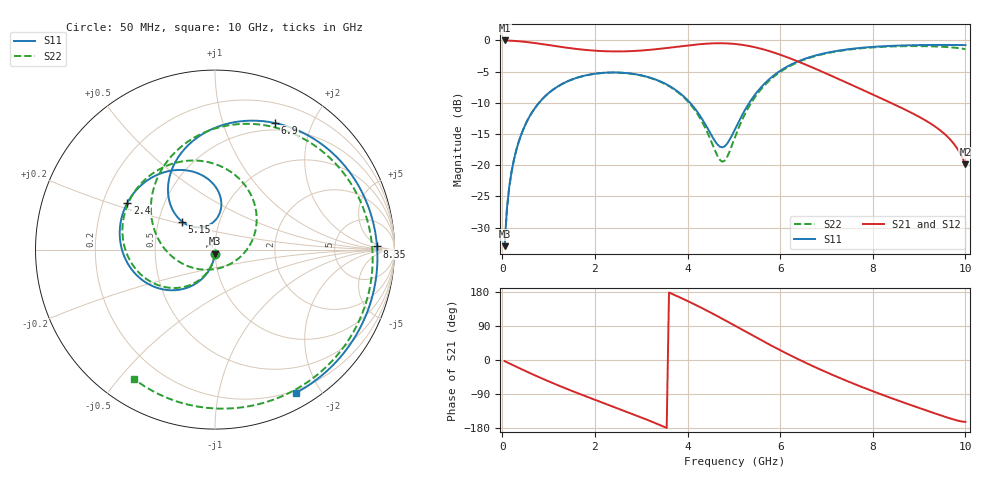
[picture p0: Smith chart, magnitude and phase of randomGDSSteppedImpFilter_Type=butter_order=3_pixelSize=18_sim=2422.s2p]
! freq	dB(S11)	phase(S11)	dB(S12)	phase(S12)
!  dB(S21)	phase(S21)	dB(S22)	phase(S22)
!S-par simulation data
#  GHz  S  DB  R 50
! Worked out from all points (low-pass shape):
!   200 points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, 50 MHz to 10 GHz, reference 50 ohm
!   highest |S21| = -0.01 dB at 50 MHz (marker M1); lowest = -19.9 dB at 10 GHz (marker M2)
!   |S21| within 3 dB of the highest: start of sweep to 6.259 GHz
!   lowest |S11| = -33.0 dB at 50 MHz (marker M3), VSWR 1.05, Z = 49.8 - j2.23 ohm
!   |S11| at or under -10 dB: start of sweep to 793.3 MHz; 4.054 GHz to 5.335 GHz (1.28 GHz wide, 27.3 % of centre)
!   |S22| runs from -33.0 to -0.9 dB; largest |S21 - S12| = 0
!   S11 on the Smith chart (normalised r, x): 50 MHz: 1.00, -0.04; 2.4 GHz: 0.30, +0.23; 5.15 GHz: 0.66, +0.22; 6.9 GHz: 0.42, +1.50; 8.35 GHz: 19, +4; 10 GHz: 0.17, -1.70
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0.05  -32.99 -92.9  -0.01 -3.0  -0.01 -3.0  -32.99 -93.1
0.1  -26.99 -95.9  -0.02 -5.9  -0.02 -5.9  -27.00 -96.3
0.2  -21.05 -101.8  -0.05 -11.8  -0.05 -11.8  -21.06 -102.6
0.5  -13.48 -118.7  -0.24 -29.1  -0.24 -29.1  -13.48 -120.5
1.1  -7.87 -149.9  -0.86 -61.5  -0.86 -61.5  -7.88 -154.2
1.75  -5.70 179.8  -1.49 -93.3  -1.49 -93.3  -5.71 172.5
2.4  -5.14 152.0  -1.77 -123.3  -1.77 -123.3  -5.15 140.5
3.4  -6.53 110.3  -1.35 -171.4  -1.35 -171.4  -6.58 87.1
4.2  -11.34 82.7  -0.65 143.8  -0.65 143.8  -11.64 28.8
4.75  -17.14 110.6  -0.46 108.8  -0.46 108.8  -19.44 -72.2
5.05  -13.86 137.8  -0.59 88.7  -0.59 88.7  -15.03 -148.6
5.15  -12.38 139.5  -0.68 82.0  -0.68 82.0  -13.23 -163.5
5.55  -7.84 130.1  -1.26 55.1  -1.26 55.1  -8.17 154.5
5.9  -5.40 114.2  -2.03 32.3  -2.03 32.3  -5.59 126.0
6.3  -3.64 94.2  -3.12 7.5  -3.12 7.5  -3.77 97.3
6.7  -2.55 74.4  -4.35 -15.8  -4.35 -15.8  -2.64 71.1
6.9  -2.16 64.7  -4.99 -26.9  -4.99 -26.9  -2.24 58.8
7.65  -1.26 30.4  -7.49 -65.7  -7.49 -65.7  -1.34 16.0
8.35  -0.89 1.1  -9.87 -98.3  -9.87 -98.3  -0.98 -20.8
9.35  -0.72 -37.0  -13.83 -141.2  -13.83 -141.2  -0.96 -74.1
9.7  -0.73 -49.7  -16.12 -155.2  -16.12 -155.2  -1.11 -96.7
10  -0.76 -60.6  -19.87 -163.2  -19.87 -163.2  -1.40 -121.9
